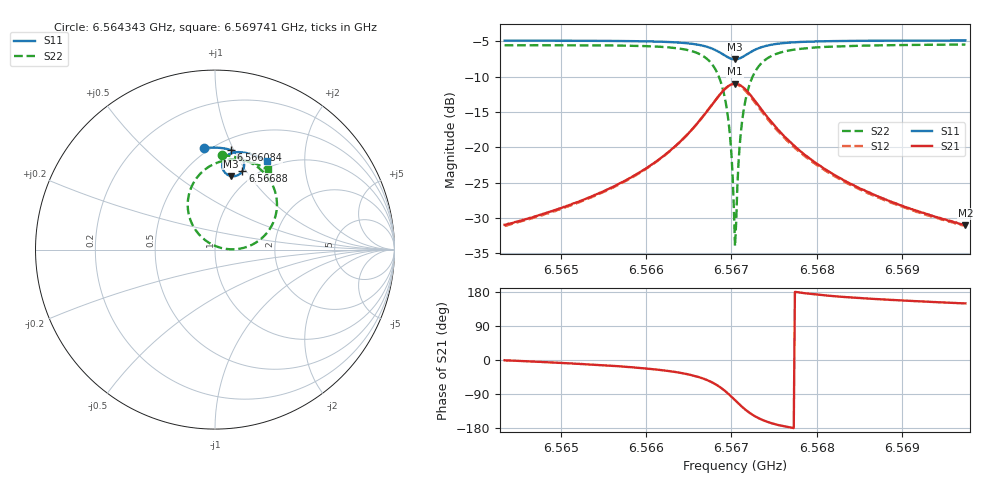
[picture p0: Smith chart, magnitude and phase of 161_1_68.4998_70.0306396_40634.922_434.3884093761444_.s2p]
#  HZ  S  RI  R  50.00
! Rohde & Schwarz Vector Network Analyzer
! Rohde-Schwarz,ZNB20-2Port,1311601062101988,3.16
! Created: UTC 3/20/2024, 4:55:47 PM
! freq[Hz]  re:S11  im:S11  re:S21  im:S21  re:S12  im:S12  re:S22  im:S22
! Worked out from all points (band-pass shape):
!   401 points, 6.564343 GHz to 6.569741 GHz, reference 50 ohm
!   highest |S21| = -10.98 dB at 6.567042 GHz (marker M1); lowest = -31.0 dB at 6.569741 GHz (marker M2)
!   |S21| within 3 dB of the highest: 6.566771 GHz to 6.567311 GHz (540.6 kHz wide, 0.00823 % of centre)
!   lowest |S11| = -7.6 dB at 6.567042 GHz (marker M3), VSWR 2.44, Z = 41.2 + j41 ohm
!   |S11| at or under -10 dB: nowhere
!   |S22| runs from -34.0 to -5.4 dB; largest |S21 - S12| = 0.014
!   S11 on the Smith chart (normalised r, x): 6.564343 GHz: 0.47, +0.78; 6.566084 GHz: 0.60, +0.97; 6.56688 GHz: 0.86, +0.96; 6.569741 GHz: 0.91, +1.32
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6.5643428e9  -0.0635 0.5657  0.0284 -0.000357  0.0278 -0.000889  0.0377 0.5268
6.5652469e9  0.0107 0.568  0.0414 -0.00765  0.0408 -0.00832  0.1241 0.513
6.5660836e9  0.089 0.5544  0.07 -0.0315  0.0691 -0.0324  0.2335 0.4628
6.5661511e9  0.0962 0.5517  0.0741 -0.0359  0.0728 -0.0369  0.2451 0.4539
6.566448e9  0.1306 0.5323  0.0953 -0.0687  0.0936 -0.07  0.3041 0.3894
6.5666639e9  0.1556 0.5009  0.1089 -0.1236  0.1065 -0.1261  0.3432 0.283
6.5667854e9  0.1621 0.4694  0.1012 -0.1787  0.0966 -0.1821  0.3343 0.1777
6.5668798e9  0.1528 0.4378  0.0678 -0.2328  0.0598 -0.2361  0.274 0.0762
6.5669608e9  0.1268 0.4144  0.00627 -0.2707  -0.00495 -0.2707  0.1609 0.00996
6.5669878e9  0.1146 0.4101  -0.0205 -0.2762  -0.0325 -0.2745  0.1122 0.00172
6.5670283e9  0.0943 0.4088  -0.0633 -0.2749  -0.0754 -0.2697  0.0362 0.00867
6.5670418e9  0.0875 0.41  -0.0775 -0.2716  -0.0893 -0.2654  0.0113 0.0165
6.5670553e9  0.081 0.4118  -0.0912 -0.2669  -0.1026 -0.2597  -0.0124 0.0264
6.5670688e9  0.0747 0.4145  -0.1043 -0.2609  -0.1153 -0.2527  -0.0347 0.0388
6.5670958e9  0.0634 0.4217  -0.1282 -0.2453  -0.1375 -0.2356  -0.0742 0.0692
6.5671362e9  0.0503 0.4358  -0.1561 -0.2159  -0.1625 -0.2048  -0.1181 0.1247
6.5671902e9  0.0414 0.4576  -0.1771 -0.1726  -0.18 -0.1612  -0.1474 0.2031
6.5672577e9  0.0415 0.483  -0.1831 -0.1231  -0.1825 -0.113  -0.1486 0.2902
6.5675006e9  0.0787 0.5311  -0.1405 -0.0279  -0.1375 -0.0236  -0.0513 0.4497
6.5679459e9  0.1416 0.5431  -0.0805 0.00845  -0.0785 0.00981  0.0853 0.5005
6.5688501e9  0.2259 0.5228  -0.039 0.0152  -0.0382 0.0153  0.2156 0.4825
6.5697408e9  0.292 0.4909  -0.0242 0.0144  -0.0238 0.0145  0.2941 0.4464
